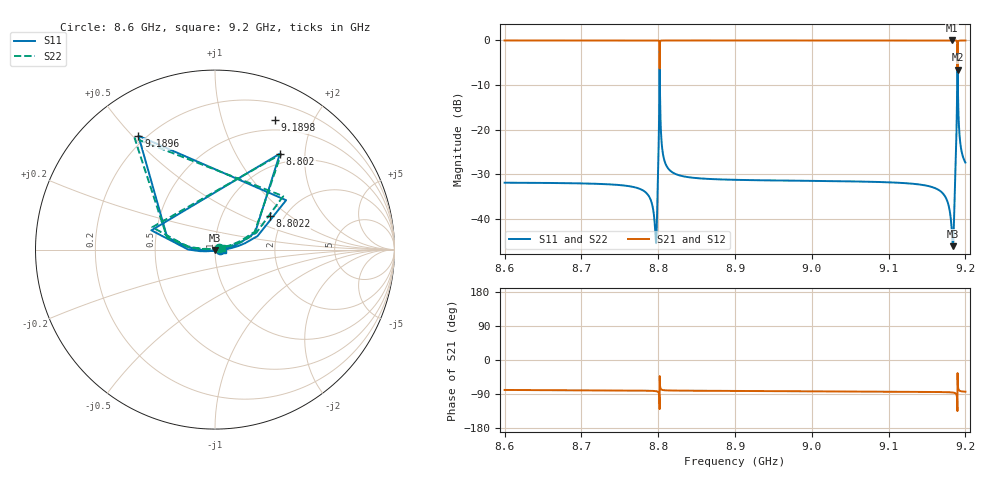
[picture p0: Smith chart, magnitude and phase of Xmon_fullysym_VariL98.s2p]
! Sonnet Data File
! From: emgraph Version : 16.52
! From Project: 171117_Xmon_fullysym
! Data is De-embedded
! Data File Written: 11/26/2017 21:44:46
!< HDATE 11/26/2017 17:24:49
!< MDATE 11/26/2017 17:24:49
!< PARAMS
!< Lj = 11.0
!< Gap = 1.0
!< Pwid = 2000.0
!< Airgap = 6.0
!< Width = 10.0
!< Lj1 = 9.8
!< END PARAMS
# GHZ S MA R 50.90000
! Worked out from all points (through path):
!   3001 points, 8.6 GHz to 9.2 GHz, reference 50.9 ohm
!   highest |S21| = 0.00 dB at 9.1824 GHz (marker M1); lowest = -6.5 dB at 9.1898 GHz (marker M2)
!   lowest |S11| = -46.1 dB at 9.1838 GHz (marker M3), VSWR 1.01, Z = 50.9 - j0.506 ohm
!   |S11| at or under -10 dB: start of sweep to 8.8015 GHz; 8.8023 GHz to 9.1893 GHz (387 MHz wide, 4.3 % of centre); 9.190225 GHz to end of sweep
!   |S22| runs from -45.7 to -2.0 dB; largest |S21 - S12| = 1e-10
!   S11 on the Smith chart (normalised r, x): 8.6 GHz: 1.05, -0.00; 8.802 GHz: 0.84, +1.54; 8.8022 GHz: 1.68, +0.72; 9.1896 GHz: 0.17, +0.52; 9.1898 GHz: 0.38, +1.49; 9.2 GHz: 1.09, -0.00
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8.6  0.02556 -0.3  0.9997 -79.0  0.9997 -79.0  0.02556 22.3
!< P1 F=8.6 Eeff=(6.44845572 -2.9799e-5) Z0=(50.9087207 1.17006e-4) R=0.0 C=0.0
!< P2 F=8.6 Eeff=(6.44845572 -2.9799e-5) Z0=(50.9087207 1.17006e-4) R=0.0 C=0.0
8.7  0.0251 -1.7  0.9997 -80.0  0.9997 -80.0  0.0251 21.8
8.779  0.02123 -5.2  0.9998 -80.9  0.9998 -80.9  0.02124 23.4
8.7898  0.01677 -9.7  0.9998 -81.3  0.9998 -81.3  0.01678 27.2
8.7958  0.008146 -33.0  0.9999 -81.9  0.9999 -81.9  0.00823 49.8
8.7978  0.006433 -115.7  0.9998 -82.5  0.9998 -82.5  0.006664 129.4
8.8002  0.04581 -168.4  0.9981 -84.9  0.9981 -84.9  0.046 176.6
8.802  0.6454 55.9  0.6768 -42.6  0.6768 -42.6  0.6464 55.3
8.8022  0.3568 31.5  0.9151 -61.4  0.9151 -61.4  0.3574 31.8
8.804  0.08175 9.5  0.9962 -77.7  0.9962 -77.7  0.08182 15.9
8.8088  0.0433 3.5  0.999 -79.9  0.999 -79.9  0.04332 16.8
8.8186  0.03334 0.5  0.9994 -80.6  0.9994 -80.6  0.03334 18.3
8.9002  0.02753 -2.8  0.9996 -81.7  0.9996 -81.7  0.02753 19.4
9.0002  0.02679 -4.3  0.9996 -82.7  0.9996 -82.7  0.02679 19.0
9.1  0.02582 -5.9  0.9997 -83.6  0.9997 -83.6  0.02582 18.6
9.1664  0.02088 -9.6  0.9998 -84.5  0.9998 -84.5  0.02088 20.6
9.1764  0.01592 -14.5  0.9999 -84.9  0.9999 -84.9  0.01593 24.8
9.1824  0.007229 -40.5  0.9999 -85.5  0.9999 -85.5  0.007312 50.1
9.1838  0.004978 -86.8  0.9999 -85.9  0.9999 -85.9  0.005158 95.1
9.1896  0.764 123.9  0.5205 -134.7  0.5205 -134.7  0.765 125.8
9.1898  0.7946 65.3  0.471 -34.7  0.471 -34.7  0.7955 67.9
9.2  0.04298 -1.4  0.999 -83.6  0.999 -83.6  0.04299 14.4
